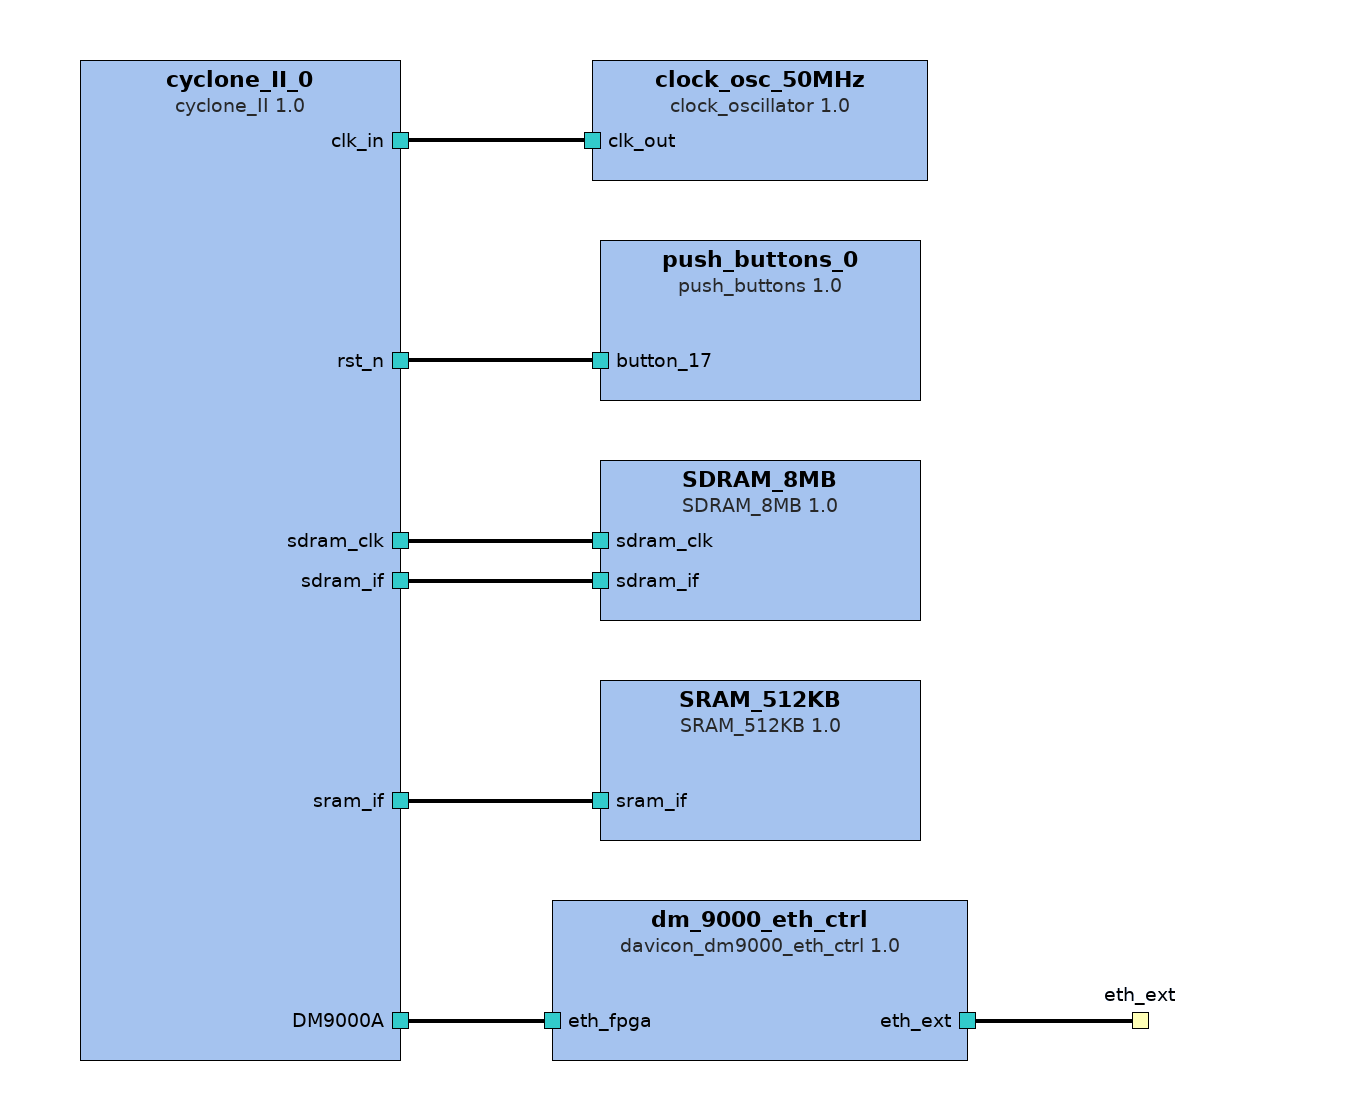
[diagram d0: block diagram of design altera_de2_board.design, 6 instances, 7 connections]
<?xml version="1.0" encoding="UTF-8"?>
<!-- Created by Kactus2 - Open source IP-Xact toolset -->
<!-- http://sourceforge.net/projects/kactus2/ -->
<!-- Date: 06.07.2012 -->
<!-- Time: 13:49:44 -->
<spirit:design xmlns:kactus2="http://funbase.cs.tut.fi/" xmlns:spirit="http://www.spiritconsortium.org/XMLSchema/SPIRIT/1.5" xmlns:xsi="http://www.w3.org/2001/XMLSchema-instance" xsi:schemaLocation="http://www.spiritconsortium.org/XMLSchema/SPIRIT/1.5 http://www.spiritconsortium.org/XMLSchema/SPIRIT/1.5/index.xsd"><spirit:vendor>TUT</spirit:vendor><spirit:library>board</spirit:library><spirit:name>altera_de2_board.design</spirit:name>
 <spirit:version>1.0</spirit:version><spirit:componentInstances>
 <spirit:componentInstance><spirit:instanceName>dm_9000_eth_ctrl</spirit:instanceName><spirit:componentRef spirit:vendor="TUT" spirit:library="chip" spirit:name="davicon_dm9000_eth_ctrl" spirit:version="1.0"/></spirit:componentInstance>
 <spirit:componentInstance><spirit:instanceName>clock_osc_50MHz</spirit:instanceName><spirit:componentRef spirit:vendor="TUT" spirit:library="chip" spirit:name="clock_oscillator" spirit:version="1.0"/></spirit:componentInstance>
 <spirit:componentInstance><spirit:instanceName>push_buttons_0</spirit:instanceName><spirit:componentRef spirit:vendor="TUT" spirit:library="chip" spirit:name="push_buttons" spirit:version="1.0"/></spirit:componentInstance>
 <spirit:componentInstance><spirit:instanceName>SDRAM_8MB</spirit:instanceName><spirit:componentRef spirit:vendor="TUT" spirit:library="chip" spirit:name="SDRAM_8MB" spirit:version="1.0"/></spirit:componentInstance>
 <spirit:componentInstance><spirit:instanceName>SRAM_512KB</spirit:instanceName><spirit:componentRef spirit:vendor="TUT" spirit:library="chip" spirit:name="SRAM_512KB" spirit:version="1.0"/></spirit:componentInstance>
 <spirit:componentInstance><spirit:instanceName>cyclone_II_0</spirit:instanceName><spirit:componentRef spirit:vendor="TUT" spirit:library="chip" spirit:name="cyclone_II" spirit:version="1.0"/></spirit:componentInstance>
</spirit:componentInstances><spirit:interconnections>
 <spirit:interconnection><spirit:name>push_buttons_0_button_17_to_cyclone_II_0_rst_n</spirit:name><spirit:activeInterface spirit:componentRef="push_buttons_0" spirit:busRef="button_17"/><spirit:activeInterface spirit:componentRef="cyclone_II_0" spirit:busRef="rst_n"/></spirit:interconnection>
 <spirit:interconnection><spirit:name>cyclone_II_0_DM9000A_to_dm_9000_eth_ctrl_eth_fpga</spirit:name><spirit:activeInterface spirit:componentRef="cyclone_II_0" spirit:busRef="DM9000A"/><spirit:activeInterface spirit:componentRef="dm_9000_eth_ctrl" spirit:busRef="eth_fpga"/></spirit:interconnection>
 <spirit:interconnection><spirit:name>clock_oscillator_0_clk_out_to_cyclone_II_0_clk_in</spirit:name><spirit:activeInterface spirit:componentRef="clock_osc_50MHz" spirit:busRef="clk_out"/><spirit:activeInterface spirit:componentRef="cyclone_II_0" spirit:busRef="clk_in"/></spirit:interconnection>
 <spirit:interconnection><spirit:name>cyclone_II_0_sram_if_to_unnamed_1_sram_if</spirit:name><spirit:activeInterface spirit:componentRef="cyclone_II_0" spirit:busRef="sram_if"/><spirit:activeInterface spirit:componentRef="SRAM_512KB" spirit:busRef="sram_if"/></spirit:interconnection>
 <spirit:interconnection><spirit:name>cyclone_II_0_sdram_clk_to_SDRAM_8MB_sdram_clk</spirit:name><spirit:activeInterface spirit:componentRef="cyclone_II_0" spirit:busRef="sdram_clk"/><spirit:activeInterface spirit:componentRef="SDRAM_8MB" spirit:busRef="sdram_clk"/></spirit:interconnection>
 <spirit:interconnection><spirit:name>cyclone_II_0_sdram_if_to_SDRAM_8MB_sdram_if</spirit:name><spirit:activeInterface spirit:componentRef="cyclone_II_0" spirit:busRef="sdram_if"/><spirit:activeInterface spirit:componentRef="SDRAM_8MB" spirit:busRef="sdram_if"/></spirit:interconnection>
</spirit:interconnections>
 <spirit:hierConnections><spirit:hierConnection spirit:interfaceRef="eth_ext"><spirit:interface spirit:componentRef="dm_9000_eth_ctrl" spirit:busRef="eth_ext"/></spirit:hierConnection></spirit:hierConnections>
</spirit:design>

